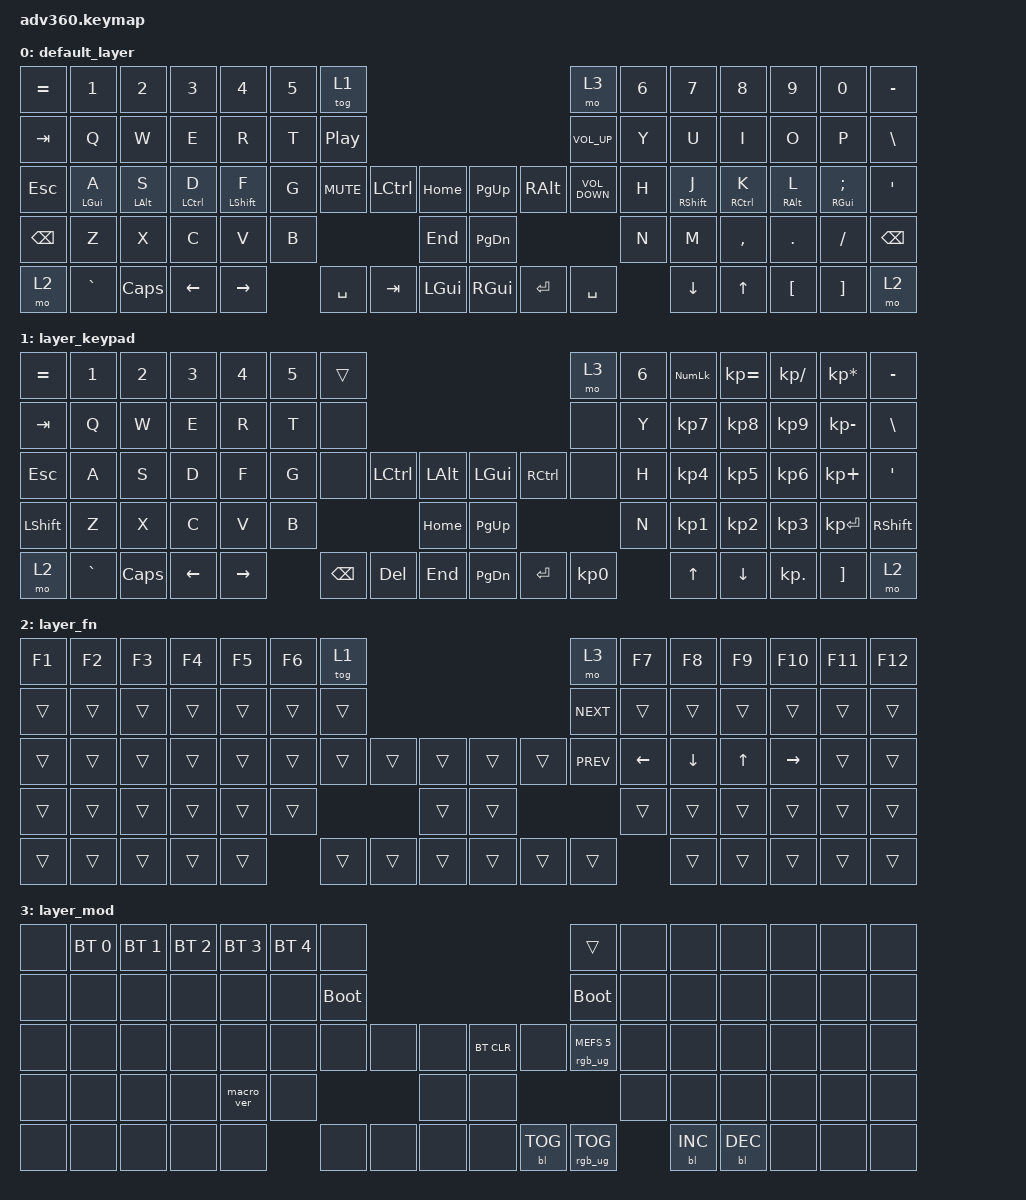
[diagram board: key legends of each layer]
/*
 * Copyright (c) 2020 The ZMK Contributors
 *
 * SPDX-License-Identifier: MIT
 */
/* THIS FILE WAS GENERATED!
 *
 * This file was generated automatically. You may or may not want to
 * edit it directly.
 */

#include <behaviors.dtsi>
#include <dt-bindings/zmk/backlight.h>
#include <dt-bindings/zmk/bt.h>
#include <dt-bindings/zmk/keys.h>
#include <dt-bindings/zmk/rgb.h>

/ {
    behaviors {
        #include "macros.dtsi"
    #include "version.dtsi"

        hm: homerow_mods {
            compatible = "zmk,behavior-hold-tap";
            label = "HOMEROW_MODS";
            #binding-cells = <2>;
            tapping-term-ms = <220>;
            quick_tap_ms = <0>;
            flavor = "tap-preferred";
            bindings = <&kp>, <&kp>;

            quick-tap-ms = <150>;
            require-prior-idle-ms = <150>;
        };
    };

    keymap {
        compatible = "zmk,keymap";

        default_layer {
            bindings = <
&kp EQUAL      &kp N1          &kp N2          &kp N3              &kp N4            &kp N5  &tog 1                                                                       &mo 3              &kp N6  &kp N7             &kp N8               &kp N9           &kp N0              &kp MINUS
&kp TAB        &kp Q           &kp W           &kp E               &kp R             &kp T   &kp C_PLAY_PAUSE                                                             &kp C_VOLUME_UP    &kp Y   &kp U              &kp I                &kp O            &kp P               &kp BSLH
&kp ESC        &hm LEFT_GUI A  &hm LEFT_ALT S  &hm LEFT_CONTROL D  &hm LEFT_SHIFT F  &kp G   &kp C_MUTE        &kp LCTRL  &kp HOME          &kp PAGE_UP    &kp RIGHT_ALT  &kp C_VOLUME_DOWN  &kp H   &hm RIGHT_SHIFT J  &hm RIGHT_CONTROL K  &hm RIGHT_ALT L  &hm RIGHT_GUI SEMI  &kp SQT
&kp BACKSPACE  &kp Z           &kp X           &kp C               &kp V             &kp B                                &kp END           &kp PAGE_DOWN                                    &kp N   &kp M              &kp COMMA            &kp DOT          &kp FSLH            &kp BACKSPACE
&mo 2          &kp GRAVE       &kp CAPS        &kp LEFT_ARROW      &kp RIGHT_ARROW           &kp SPACE         &kp TAB    &kp LEFT_GUI      &kp RIGHT_GUI  &kp ENTER      &kp SPACE                  &kp DOWN_ARROW     &kp UP_ARROW         &kp LBKT         &kp RBKT            &mo 2
            >;
        };

        layer_keypad {
            bindings = <
&kp EQUAL  &kp N1     &kp N2    &kp N3    &kp N4     &kp N5  &trans                                                   &mo 3      &kp N6  &kp KP_NUM  &kp KP_EQUAL  &kp KP_DIVIDE  &kp KP_MULTIPLY  &kp MINUS
&kp TAB    &kp Q      &kp W     &kp E     &kp R      &kp T   &none                                                    &none      &kp Y   &kp KP_N7   &kp KP_N8     &kp KP_N9      &kp KP_MINUS     &kp BSLH
&kp ESC    &kp A      &kp S     &kp D     &kp F      &kp G   &none     &kp LCTRL  &kp LALT      &kp LGUI   &kp RCTRL  &none      &kp H   &kp KP_N4   &kp KP_N5     &kp KP_N6      &kp KP_PLUS      &kp SQT
&kp LSHFT  &kp Z      &kp X     &kp C     &kp V      &kp B                        &kp HOME      &kp PG_UP                        &kp N   &kp KP_N1   &kp KP_N2     &kp KP_N3      &kp KP_ENTER     &kp RSHFT
&mo 2      &kp GRAVE  &kp CAPS  &kp LEFT  &kp RIGHT          &kp BSPC  &kp DEL    &kp END       &kp PG_DN  &kp ENTER  &kp KP_N0          &kp UP      &kp DOWN      &kp KP_DOT     &kp RBKT         &mo 2
            >;
        };

        layer_fn {
            bindings = <
&kp F1  &kp F2  &kp F3  &kp F4  &kp F5  &kp F6  &tog 1                                      &mo 3       &kp F7          &kp F8          &kp F9        &kp F10          &kp F11  &kp F12
&trans  &trans  &trans  &trans  &trans  &trans  &trans                                      &kp C_NEXT  &trans          &trans          &trans        &trans           &trans   &trans
&trans  &trans  &trans  &trans  &trans  &trans  &trans  &trans  &trans      &trans  &trans  &kp C_PREV  &kp LEFT_ARROW  &kp DOWN_ARROW  &kp UP_ARROW  &kp RIGHT_ARROW  &trans   &trans
&trans  &trans  &trans  &trans  &trans  &trans                  &trans      &trans                      &trans          &trans          &trans        &trans           &trans   &trans
&trans  &trans  &trans  &trans  &trans          &trans  &trans  &trans      &trans  &trans  &trans                      &trans          &trans        &trans           &trans   &trans
            >;
        };

        layer_mod {
            bindings = <
&none  &bt BT_SEL 0  &bt BT_SEL 1  &bt BT_SEL 2  &bt BT_SEL 3  &bt BT_SEL 4  &none                                                  &trans                  &none  &none       &none       &none  &none  &none
&none  &none         &none         &none         &none         &none         &bootloader                                            &bootloader             &none  &none       &none       &none  &none  &none
&none  &none         &none         &none         &none         &none         &none        &none  &none      &bt BT_CLR  &none       &rgb_ug RGB_MEFS_CMD 5  &none  &none       &none       &none  &none  &none
&none  &none         &none         &none         &macro_ver    &none                             &none      &none                                           &none  &none       &none       &none  &none  &none
&none  &none         &none         &none         &none                       &none        &none  &none      &none       &bl BL_TOG  &rgb_ug RGB_TOG                &bl BL_INC  &bl BL_DEC  &none  &none  &none
            >;
        };
    };
};
